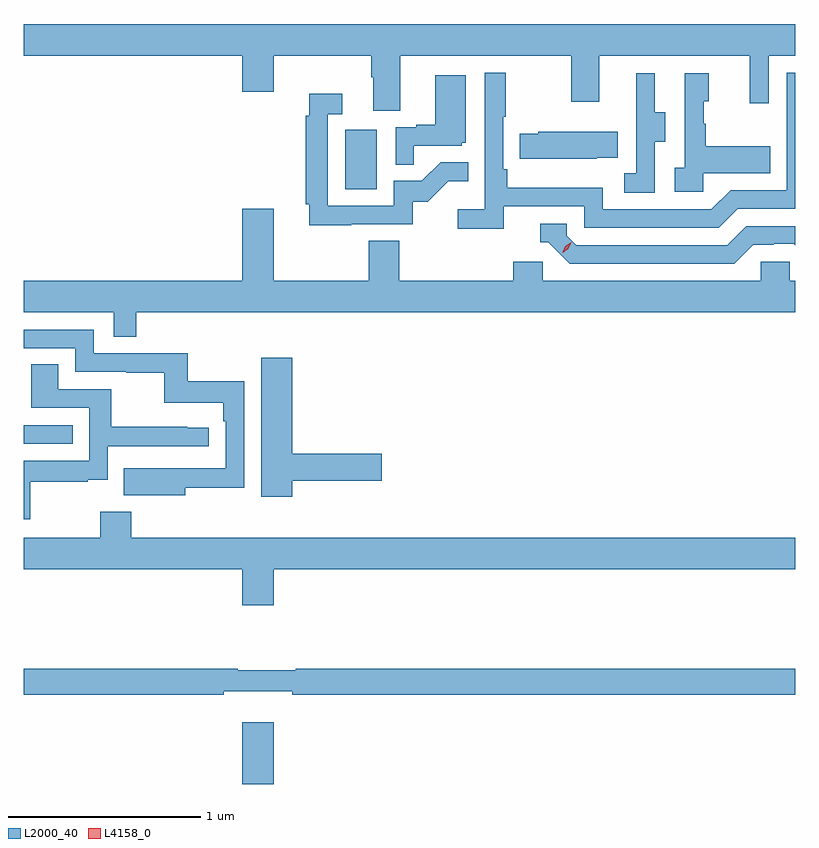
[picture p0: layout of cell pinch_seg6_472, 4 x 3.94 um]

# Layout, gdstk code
import gdstk
lib = gdstk.Library(unit=1e-6, precision=1e-09)
def R(c, l, rs):  # rectangles x0, y0, x1, y1
    for r in rs: c.add(gdstk.rectangle(r[:2], r[2:], *l))
def P(c, l, *ps):  # polygons
    for p in ps: c.add(gdstk.Polygon(p, *l))
L2000_40 = (2000, 40)
L4158_0 = (4158, 0)

pinch_seg6_472 = lib.new_cell('pinch_seg6_472')
R(pinch_seg6_472, L2000_40, [(860.312,930.238,860.476,930.559), (859.18,932.004,859.433,932.1), (860.846,933.324,861.01,933.631)])
P(pinch_seg6_472, L2000_40, [(861.133,934.016),(862.018,934.016),(862.018,933.777),(862.165,933.777),(862.165,934.016),(862.946,934.016),(862.946,933.768),(863.043,933.768),(863.043,934.016),(863.18,934.016),(863.18,934.18),(859.18,934.18),(859.18,934.016),(860.312,934.016),(860.312,933.828),(860.476,933.828),(860.476,934.016),(860.981,934.016),(860.981,933.904),(860.993,933.904),(860.993,933.73),(861.133,933.73)],
  [(861.668,933.234),(862.086,933.234),(862.086,933.123),(862.783,933.123),(862.882,933.222),(863.18,933.222),(863.18,933.927),(863.136,933.927),(863.136,933.318),(862.845,933.318),(862.746,933.219),(862.182,933.219),(862.182,933.331),(861.686,933.331),(861.686,933.427),(861.666,933.427),(861.666,933.7),(861.679,933.7),(861.679,933.928),(861.57,933.928),(861.57,933.22),(861.429,933.22),(861.429,933.118),(861.668,933.118)],
  [(862.704,933.407),(863.051,933.407),(863.051,933.547),(862.717,933.547),(862.717,933.662),(862.707,933.662),(862.707,933.78),(862.732,933.78),(862.732,933.925),(862.608,933.925),(862.608,933.434),(862.557,933.434),(862.557,933.309),(862.704,933.309)],
  [(862.452,933.568),(862.507,933.568),(862.507,933.723),(862.453,933.723),(862.453,933.925),(862.355,933.925),(862.355,933.711),(862.356,933.711),(862.356,933.407),(862.293,933.407),(862.293,933.304),(862.452,933.304)],
  [(861.203,933.549),(861.45,933.549),(861.45,933.564),(861.472,933.564),(861.472,933.913),(861.314,933.913),(861.314,933.658),(861.215,933.658),(861.215,933.645),(861.108,933.645),(861.108,933.451),(861.203,933.451)],
  [(860.879,933.141),(861.198,933.141),(861.198,933.258),(861.274,933.258),(861.381,933.365),(861.485,933.365),(861.485,933.464),(861.341,933.464),(861.243,933.366),(861.099,933.366),(861.099,933.237),(860.757,933.237),(860.757,933.711),(860.83,933.711),(860.83,933.817),(860.66,933.817),(860.66,933.704),(860.641,933.704),(860.641,933.244),(860.66,933.244),(860.66,933.136),(860.879,933.136)],
  [(862.151,933.485),(862.259,933.485),(862.259,933.622),(861.849,933.622),(861.849,933.612),(861.751,933.612),(861.751,933.482),(862.151,933.482)],
  [(859.763,932.684),(863.18,932.684),(863.18,932.848),(863.151,932.848),(863.151,932.946),(863.001,932.946),(863.001,932.848),(861.87,932.848),(861.87,932.946),(861.719,932.946),(861.719,932.848),(861.128,932.848),(861.128,933.056),(860.968,933.056),(860.968,932.848),(860.476,932.848),(860.476,933.223),(860.312,933.223),(860.312,932.848),(859.18,932.848),(859.18,932.684),(859.647,932.684),(859.647,932.557),(859.763,932.557)],
  [(862.963,933.036),(863.07,933.036),(863.07,933.039),(863.173,933.039),(863.18,933.032),(863.18,933.132),(862.926,933.132),(862.827,933.033),(862.044,933.033),(861.996,933.081),(861.996,933.144),(861.857,933.144),(861.857,933.048),(861.9,933.048),(862.011,932.937),(862.864,932.937)],
  [(860.017,931.774),(860.322,931.774),(860.322,932.326),(860.029,932.326),(860.029,932.472),(859.542,932.472),(859.542,932.595),(859.18,932.595),(859.18,932.499),(859.446,932.499),(859.446,932.376),(859.711,932.376),(859.711,932.371),(859.908,932.371),(859.908,932.216),(860.213,932.216),(860.213,932.12),(860.226,932.12),(860.226,931.875),(859.913,931.875),(859.913,931.876),(859.699,931.876),(859.699,931.736),(860.017,931.736)],
  [(860.572,931.81),(861.037,931.81),(861.037,931.952),(860.572,931.952),(860.572,932.449),(860.411,932.449),(860.411,931.728),(860.572,931.728)],
  [(859.213,931.806),(859.511,931.806),(859.511,931.817),(859.614,931.817),(859.614,931.989),(860.14,931.989),(860.14,932.085),(860.027,932.085),(860.027,932.09),(859.634,932.09),(859.634,932.286),(859.357,932.286),(859.357,932.414),(859.217,932.414),(859.217,932.19),(859.518,932.19),(859.518,931.914),(859.18,931.914),(859.18,931.611),(859.213,931.611)],
  [(860.476,931.352),(863.18,931.352),(863.18,931.516),(859.736,931.516),(859.736,931.651),(859.576,931.651),(859.576,931.516),(859.18,931.516),(859.18,931.352),(860.312,931.352),(860.312,931.164),(860.476,931.164)],
  [(860.216,930.719),(860.572,930.719),(860.572,930.7),(863.18,930.7),(863.18,930.836),(860.59,930.836),(860.59,930.829),(860.29,930.829),(860.29,930.836),(859.18,930.836),(859.18,930.7),(860.216,930.7)])
P(pinch_seg6_472, L4158_0, [(861.974,932.994),(861.974,932.995),(861.989,933.027),(862.02,933.047),(862.02,933.047),(862.02,933.046),(862.004,933.014),(861.974,932.994)])

lib.write_gds('pinch_seg6_472.gds')
